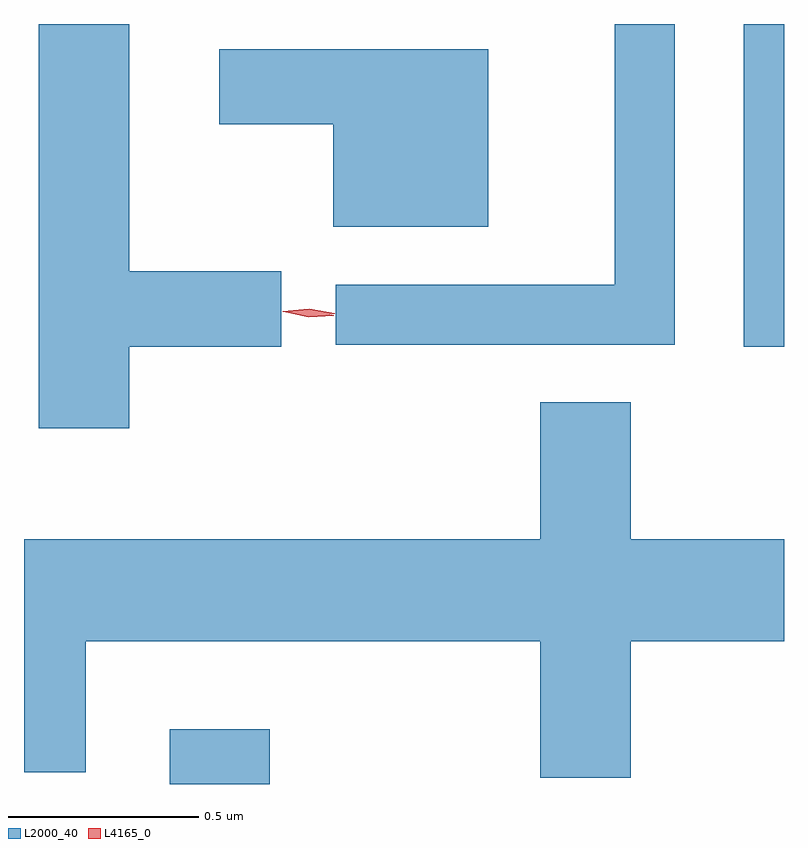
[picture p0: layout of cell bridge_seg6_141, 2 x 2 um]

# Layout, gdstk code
import gdstk
lib = gdstk.Library(unit=1e-6, precision=1e-09)
def R(c, l, rs):  # rectangles x0, y0, x1, y1
    for r in rs: c.add(gdstk.rectangle(r[:2], r[2:], *l))
def P(c, l, *ps):  # polygons
    for p in ps: c.add(gdstk.Polygon(p, *l))
L2000_40 = (2000, 40)
L4165_0 = (4165, 0)

bridge_seg6_141 = lib.new_cell('bridge_seg6_141')
R(bridge_seg6_141, L2000_40, [(1024.791,1660.66,1025.054,1660.804), (1026.301,1661.811,1026.407,1662.66)])
P(bridge_seg6_141, L2000_40, [(1024.684,1661.811),(1025.084,1661.811),(1025.084,1662.009),(1024.684,1662.009),(1024.684,1662.66),(1024.446,1662.66),(1024.446,1661.596),(1024.684,1661.596)],
  [(1026.119,1662.66),(1025.961,1662.66),(1025.961,1661.974),(1025.228,1661.974),(1025.228,1661.816),(1026.119,1661.816)],
  [(1025.629,1662.594),(1024.921,1662.594),(1024.921,1662.396),(1025.221,1662.396),(1025.221,1662.126),(1025.629,1662.126)],
  [(1026.004,1661.036),(1026.407,1661.036),(1026.407,1661.304),(1026.004,1661.304),(1026.004,1661.664),(1025.766,1661.664),(1025.766,1661.304),(1024.407,1661.304),(1024.407,1660.691),(1024.569,1660.691),(1024.569,1661.036),(1025.766,1661.036),(1025.766,1660.676),(1026.004,1660.676)])
P(bridge_seg6_141, L4165_0, [(1025.156,1661.891),(1025.088,1661.903),(1025.088,1661.903),(1025.088,1661.904),(1025.157,1661.911),(1025.225,1661.899),(1025.225,1661.898),(1025.225,1661.898)],
  [(1025.156,1661.888),(1025.091,1661.903),(1025.091,1661.903),(1025.091,1661.904),(1025.157,1661.908),(1025.222,1661.894),(1025.222,1661.893),(1025.222,1661.892)])

lib.write_gds('bridge_seg6_141.gds')
